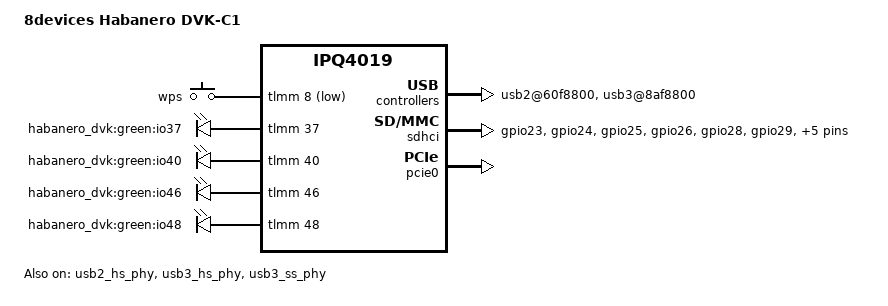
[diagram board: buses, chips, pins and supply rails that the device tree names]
// SPDX-License-Identifier: GPL-2.0-or-later OR MIT

#include "qcom-ipq4019-habanero.dtsi"

/ {
	model = "8devices Habanero DVK-C1";
	compatible = "8dev,habanero-dvk-c1", "8dev,habanero", "qcom,ipq4019";

	soc {
		usb2@60f8800 {
			status = "okay";
		};

		usb3@8af8800 {
			status = "okay";
		};
	};

	gpio-keys {
		compatible = "gpio-keys";

		wps {
			label = "wps";
			gpios = <&tlmm 8 GPIO_ACTIVE_LOW>;
			linux,code = <KEY_WPS_BUTTON>;
		};
	};

	gpio-leds {
		compatible = "gpio-leds";

		io37 {
			label = "habanero_dvk:green:io37";
			gpios = <&tlmm 37 GPIO_ACTIVE_HIGH>;
		};
		io40 {
			label = "habanero_dvk:green:io40";
			gpios = <&tlmm 40 GPIO_ACTIVE_HIGH>;
		};
		io46 {
			label = "habanero_dvk:green:io46";
			gpios = <&tlmm 46 GPIO_ACTIVE_HIGH>;
		};
		io48 {
			label = "habanero_dvk:green:io48";
			gpios = <&tlmm 48 GPIO_ACTIVE_HIGH>;
		};
	};
};

&sdhci {
	pinctrl-0 = <&sd_pins>;
	pinctrl-names = "default";
	cd-gpios = <&tlmm 22 0x1>;
	vqmmc-supply = <&vqmmc>;
	status = "okay";
};

&pcie0 {
	perst-gpio = <&tlmm 38 GPIO_ACTIVE_LOW>;
	wake-gpio = <&tlmm 50 GPIO_ACTIVE_LOW>;
	status = "okay";
};

&tlmm {
	sd_pins: sd_pins {
		pinmux {
			function = "sdio";
			pins = "gpio23", "gpio24", "gpio25", "gpio26",
				"gpio28", "gpio29", "gpio30", "gpio31";
			drive-strength = <10>;
		};

		pinmux_sd_clk {
			function = "sdio";
			pins = "gpio27";
			drive-strength = <16>;
		};

		pinmux_sd7 {
			function = "sdio";
			pins = "gpio32";
			drive-strength = <10>;
			bias-disable;
		};
	};
};

&usb2_hs_phy {
	status = "okay";
};

&usb3_hs_phy {
	status = "okay";
};

&usb3_ss_phy {
	status = "okay";
};
